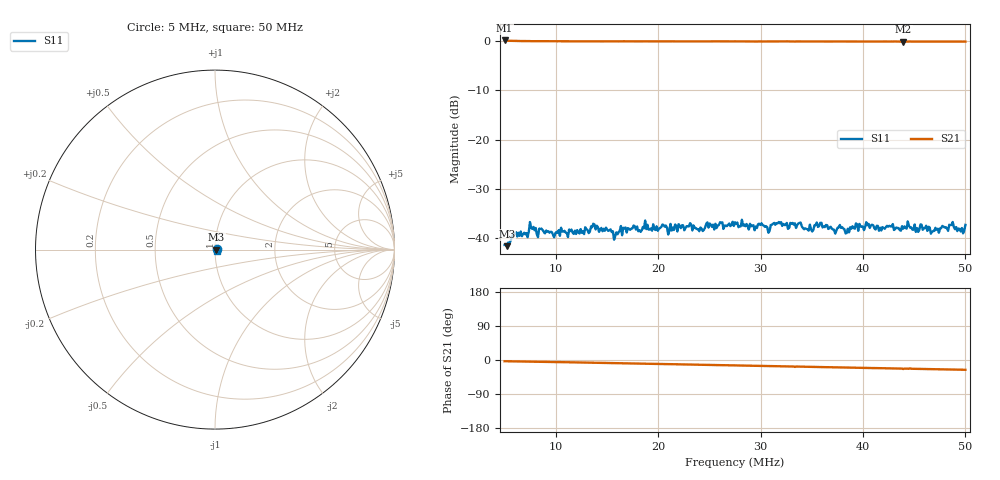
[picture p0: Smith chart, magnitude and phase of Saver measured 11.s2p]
! Measured S11/S21; S12/S22 are placeholders, NOT measurements. Calibration unverified.
! [Saver CAL applied] C:\Users\aknya\MyProjects\rf-simulator\calibration2.cal | Ideal standards assumed | Input: NanoVNA F V2 profile | COM3 | 2026-09-08T16:58:53.5324337-04:00 | device calibration unverified
# HZ S RI R 50
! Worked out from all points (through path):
!   401 points, 5 MHz to 50 MHz, reference 50 ohm
!   highest |S21| = 0.15 dB at 5 MHz (marker M1); lowest = -0.1 dB at 43.92 MHz (marker M2)
!   group delay of S21, straight-line fit = 1.42 ns
!   lowest |S11| = -41.7 dB at 5.225 MHz (marker M3), VSWR 1.02, Z = 50.8 + j0.0296 ohm
!   |S11| at or under -10 dB: start of sweep to end of sweep
!   S12 and S22 are empty: the file has one direction only
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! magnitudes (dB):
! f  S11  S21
! 5 MHz  -41.4  0.2
! 5.225 MHz  -41.7  0.1
! 5.9 MHz  -39.5  0.1
! 7.138 MHz  -39.0  0.0
! 7.7 MHz  -38.2  0.0
! 9.725 MHz  -39.3  0.0
! 12.54 MHz  -38.9  0.0
! 13.89 MHz  -38.3  0.0
! 15.91 MHz  -38.9  0.0
! 16.59 MHz  -37.9  0.0
! 20.07 MHz  -38.1  0.0
! 23 MHz  -37.6  0.0
! 24.24 MHz  -38.1  0.0
! 24.91 MHz  -37.9  0.0
! 27.5 MHz  -36.8  0.0
! 35.04 MHz  -38.7  0.0
! 35.71 MHz  -37.6  -0.1
! 38.41 MHz  -39.0  -0.1
! 39.2 MHz  -38.1  -0.1
! 42.58 MHz  -37.5  -0.1
! 43.92 MHz  -38.1  -0.1
! 50 MHz  -37.4  -0.1
